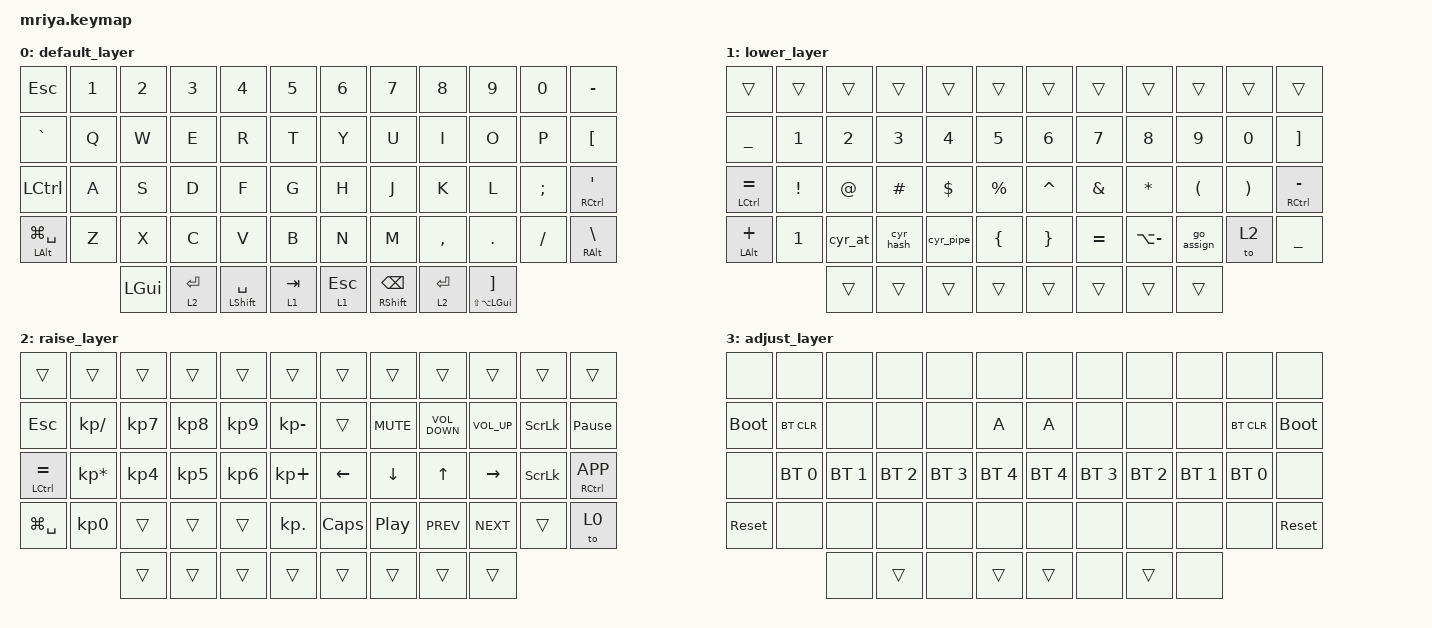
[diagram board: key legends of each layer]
/*
 * Copyright (c) 2023 Andrei Gaevskii
 *
 * SPDX-License-Identifier: MIT
 */

#include <behaviors.dtsi>
#include <dt-bindings/zmk/bt.h>
#include <dt-bindings/zmk/keys.h>

#define DEF 0
#define LWR 1
#define RSE 2
#define ADJ 3

&lt {
    quick_tap_ms = <200>;
    tapping-term-ms = <150>;
};

&mt {
    quick_tap_ms = <200>;
    flavor = "tap-preferred";
    tapping-term-ms = <150>;
};

/ {
    macros {
        cmd_space: cmd_space {
            compatible = "zmk,behavior-macro";
            #binding-cells = <0>;
            bindings = <&kp LCMD &kp SPACE>;
            label = "CMD_SPACE";
        };

        cyr_at: cyr_at {
            compatible = "zmk,behavior-macro";
            #binding-cells = <0>;
            bindings = <&kp LG(SPACE) &kp AT &kp LG(SPACE)>;
            label = "CYR_AT";
        };

        cyr_hash: cyr_hash {
            compatible = "zmk,behavior-macro";
            #binding-cells = <0>;
            bindings = <&kp LG(SPACE) &kp HASH &kp LG(SPACE)>;
            label = "CYR_HASH";
        };

        cyr_pipe: cyr_pipe {
            compatible = "zmk,behavior-macro";
            #binding-cells = <0>;
            bindings = <&kp LG(SPACE) &kp PIPE &kp LG(SPACE)>;
            label = "CYR_PIPE";
        };

        cyr_l_brace: cyr_l_brace {
            compatible = "zmk,behavior-macro";
            #binding-cells = <0>;
            bindings = <&kp LG(SPACE) &kp LEFT_BRACE &kp LG(SPACE)>;
            label = "CYR_L_BRACE";
        };

        cyr_right_brace: cyr_right_brace {
            compatible = "zmk,behavior-macro";
            #binding-cells = <0>;
            bindings = <&kp LG(SPACE) &kp RIGHT_BRACE &kp LG(SPACE)>;
            label = "CYR_RIGHT_BRACE";
        };

        go_assign: go_assign {
            compatible = "zmk,behavior-macro";
            #binding-cells = <0>;
            bindings = <&kp COLON &kp EQUAL>;
            label = "GO_ASSIGN";
        };
    };

    combos {
        compatible = "zmk,combos";

        tog_def {
            bindings = <&tog 0>;
            key-positions = <47 46>;
            layers = <2>;
        };

        adj_left_hand {
            bindings = <&mo ADJ>;
            key-positions = <49 51>;
            layers = <0>;
            require-prior-idle-ms = <150>;
        };

        adj_right_hand {
            bindings = <&mo ADJ>;
            key-positions = <52 54>;
            layers = <0>;
            require-prior-idle-ms = <150>;
        };
    };

    keymap {
        compatible = "zmk,keymap";

        default_layer {
            bindings = <
  &kp ESCAPE          &kp N1  &kp N2    &kp N3       &kp N4           &kp N5           &kp N6        &kp N7               &kp N8       &kp N9                          &kp N0    &kp MINUS
  &kp GRAVE           &kp Q   &kp W     &kp E        &kp R            &kp T            &kp Y         &kp U                &kp I        &kp O                           &kp P     &kp LBKT
  &kp LCTRL           &kp A   &kp S     &kp D        &kp F            &kp G            &kp H         &kp J                &kp K        &kp L                           &kp SEMI  &mt RCTRL SQT
  &mt LALT LG(SPACE)  &kp Z   &kp X     &kp C        &kp V            &kp B            &kp N         &kp M                &kp COMMA    &kp DOT                         &kp FSLH  &mt RALT BSLH
                              &kp LGUI  &lt 2 ENTER  &mt LSHFT SPACE  &lt 1 TAB        &lt 1 ESCAPE  &mt RSHFT BACKSPACE  &lt 2 ENTER  &mt LS(LA(LGUI)) RIGHT_BRACKET
            >;
        };

        lower_layer {
            bindings = <
  &trans           &trans        &trans        &trans        &trans     &trans                &trans           &trans     &trans         &trans      &trans    &trans
  &kp UNDER        &kp NUMBER_1  &kp NUMBER_2  &kp NUMBER_3  &kp N4     &kp N5                &kp NUMBER_6     &kp N7     &kp N8         &kp N9      &kp N0    &kp RIGHT_BRACKET
  &mt LCTRL EQUAL  &kp EXCL      &kp AT        &kp HASH      &kp DLLR   &kp PRCNT             &kp CARET        &kp AMPS   &kp STAR       &kp LPAR    &kp RPAR  &mt RCTRL MINUS
  &mt LALT PLUS    &kp N1        &cyr_at       &cyr_hash     &cyr_pipe  &kp LEFT_BRACE        &kp RIGHT_BRACE  &kp EQUAL  &kp LA(MINUS)  &go_assign  &to 2     &kp UNDERSCORE
                                 &trans        &trans        &trans     &trans                &trans           &trans     &trans         &trans
            >;
        };

        raise_layer {
            bindings = <
  &trans           &trans           &trans     &trans     &trans     &trans              &trans        &trans            &trans             &trans           &trans          &trans
  &kp ESC          &kp KP_SLASH     &kp KP_N7  &kp KP_N8  &kp KP_N9  &kp KP_MINUS        &trans        &kp C_MUTE        &kp C_VOLUME_DOWN  &kp C_VOLUME_UP  &kp SCROLLLOCK  &kp PAUSE_BREAK
  &mt LCTRL EQUAL  &kp KP_MULTIPLY  &kp KP_N4  &kp KP_N5  &kp KP_N6  &kp KP_PLUS         &kp LEFT      &kp DOWN          &kp UP             &kp RIGHT        &kp SCROLLLOCK  &mt RCTRL K_APP
  &kp LG(SPACE)    &kp KP_N0        &trans     &trans     &trans     &kp KP_DOT          &kp CAPSLOCK  &kp C_PLAY_PAUSE  &kp C_PREV         &kp C_NEXT       &trans          &to 0
                                    &trans     &trans     &trans     &trans              &trans        &trans            &trans             &trans
            >;
        };

        adjust_layer {
            bindings = <
  &none        &none         &none         &none         &none         &none               &none         &none         &none         &none         &none         &none
  &bootloader  &bt BT_CLR    &none         &none         &none         &kp A               &kp A         &none         &none         &none         &bt BT_CLR    &bootloader
  &none        &bt BT_SEL 0  &bt BT_SEL 1  &bt BT_SEL 2  &bt BT_SEL 3  &bt BT_SEL 4        &bt BT_SEL 4  &bt BT_SEL 3  &bt BT_SEL 2  &bt BT_SEL 1  &bt BT_SEL 0  &none
  &sys_reset   &none         &none         &none         &none         &none               &none         &none         &none         &none         &none         &sys_reset
                             &none         &trans        &none         &trans              &trans        &none         &trans        &none
            >;
        };
    };
};
